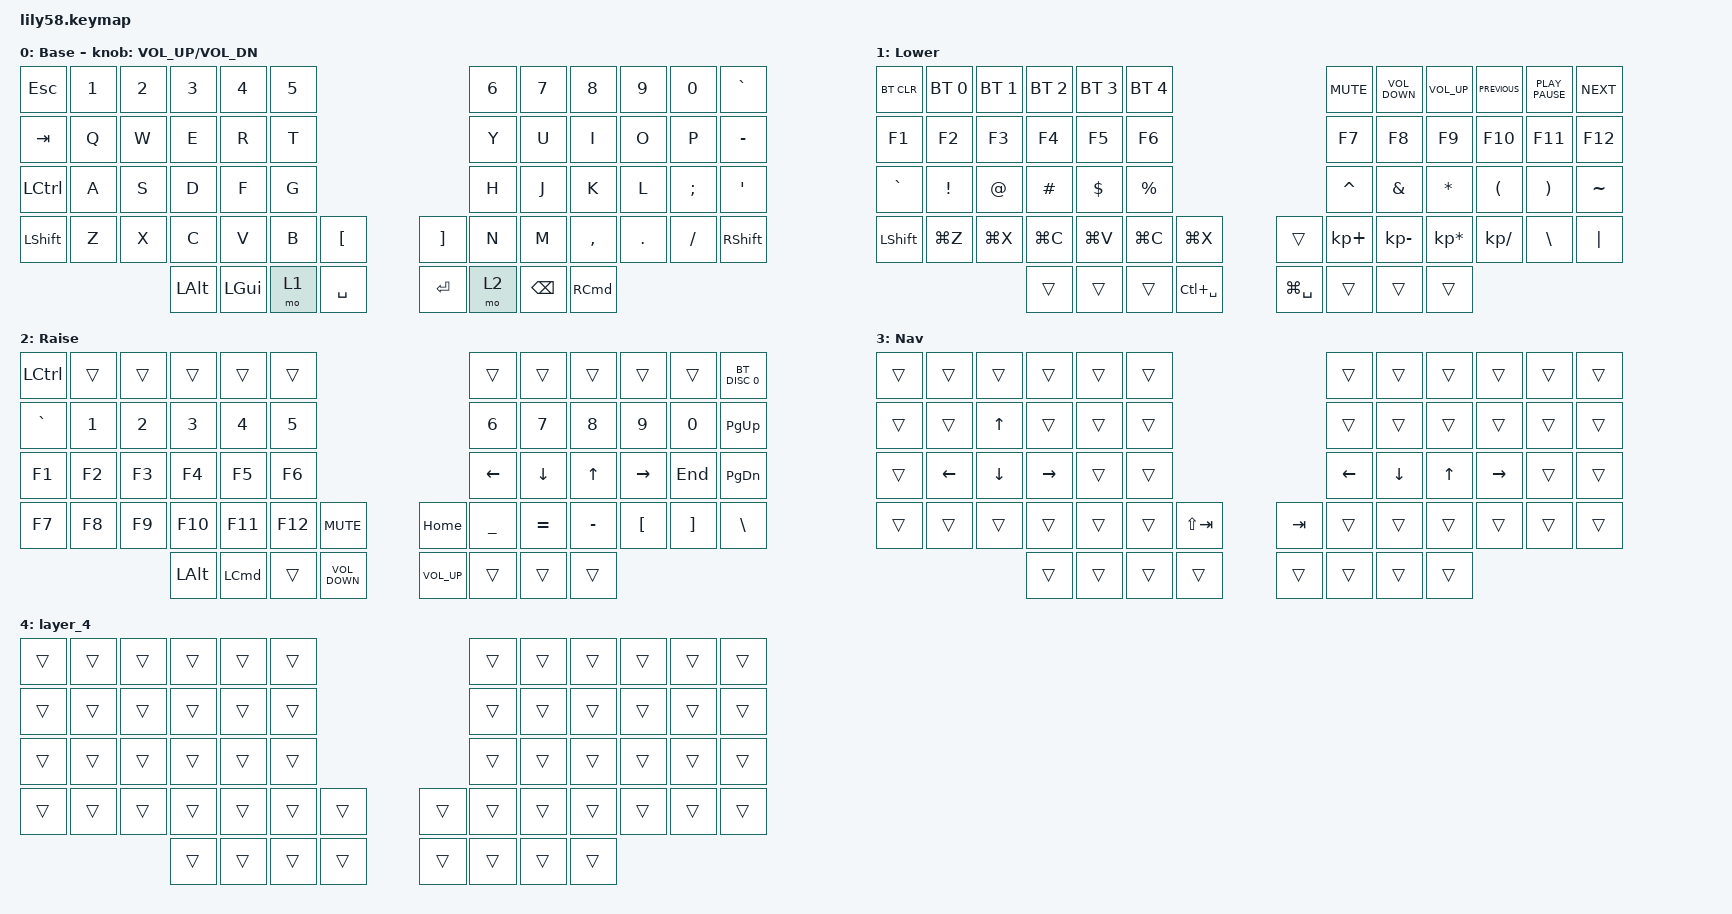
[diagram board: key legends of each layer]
/*
 * Copyright (c) 2020 The ZMK Contributors
 *
 * SPDX-License-Identifier: MIT
 */

#include <behaviors.dtsi>
#include <dt-bindings/zmk/bt.h>
#include <dt-bindings/zmk/keys.h>

/ {
    combos {
        compatible = "zmk,combos";

        layer_3 {
            bindings = <&mo 3>;
            key-positions = <55 56>;
        };
    };

    keymap {
        compatible = "zmk,keymap";

        default_layer {
            // ------------------------------------------------------------------------------------------------------------
            // |  ESC  |  1  |  2  |  3   |  4   |  5   |                   |  6   |  7    |  8    |  9   |   0   |   `   |
            // |  TAB  |  Q  |  W  |  E   |  R   |  T   |                   |  Y   |  U    |  I    |  O   |   P   |   -   |
            // |  CTRL |  A  |  S  |  D   |  F   |  G   |                   |  H   |  J    |  K    |  L   |   ;   |   '   |
            // | SHIFT |  Z  |  X  |  C   |  V   |  B   |   "["  |  |  "]"  |  N   |  M    |  ,    |  .   |   /   | SHIFT |
            //                     | ALT  | GUI  | LOWER|  SPACE |  | ENTER | RAISE| BSPC  | GUI   |

            label = "Base";
            bindings = <
&kp ESC    &kp N1  &kp N2  &kp N3    &kp N4    &kp N5                                         &kp N6  &kp N7         &kp N8     &kp N9   &kp N0    &kp GRAVE
&kp TAB    &kp Q   &kp W   &kp E     &kp R     &kp T                                          &kp Y   &kp U          &kp I      &kp O    &kp P     &kp MINUS
&kp LCTRL  &kp A   &kp S   &kp D     &kp F     &kp G                                          &kp H   &kp J          &kp K      &kp L    &kp SEMI  &kp SQT
&kp LSHFT  &kp Z   &kp X   &kp C     &kp V     &kp B   &kp LEFT_BRACKET    &kp RIGHT_BRACKET  &kp N   &kp M          &kp COMMA  &kp DOT  &kp FSLH  &kp RSHFT
                           &kp LALT  &kp LGUI  &mo 1   &kp SPACE           &kp RET            &mo 2   &kp BACKSPACE  &kp RCMD
            >;

            sensor-bindings = <&inc_dec_kp C_VOL_UP C_VOL_DN>;
        };

        lower_layer {
            // ------------------------------------------------------------------------------------------------------------
            // | BTCLR | BT1 | BT2 |  BT3 |  BT4 |  BT5 |                   |      |       |       |      |       |       |
            // |  F1   |  F2 |  F3 |  F4  |  F5  |  F6  |                   |  F7  |  F8   |  F9   |  F10 |  F11  |  F12  |
            // |   `   |  !  |  @  |  #   |  $   |  %   |                   |  ^   |  &    |  *    |  (   |   )   |   ~   |
            // |       |     |     |      |      |      |        |  |       |      |  _    |  +    |  {   |   }   |  "|"  |
            //                     |      |      |      |        |  |       |      |       |       |

            label = "Lower";
            bindings = <
&bt BT_CLR  &bt BT_SEL 0  &bt BT_SEL 1  &bt BT_SEL 2  &bt BT_SEL 3  &bt BT_SEL 4                                  &kp K_MUTE   &kp C_VOLUME_DOWN  &kp C_VOLUME_UP  &kp K_PREVIOUS        &kp K_PLAY_PAUSE  &kp K_NEXT
&kp F1      &kp F2        &kp F3        &kp F4        &kp F5        &kp F6                                        &kp F7       &kp F8             &kp F9           &kp F10               &kp F11           &kp F12
&kp GRAVE   &kp EXCL      &kp AT        &kp HASH      &kp DOLLAR    &kp PRCNT                                     &kp CARET    &kp AMPS           &kp ASTRK        &kp LEFT_PARENTHESIS  &kp RPAR          &kp TILDE
&kp LSHIFT  &kp LG(Z)     &kp LG(X)     &kp LG(C)     &kp LG(V)     &kp LG(C)     &kp LG(X)        &trans         &kp KP_PLUS  &kp KP_SUBTRACT    &kp KP_MULTIPLY  &kp KP_DIVIDE         &kp BACKSLASH     &kp PIPE
                                        &trans        &trans        &trans        &kp LC(SPACE)    &kp LG(SPACE)  &trans       &trans             &trans
            >;
        };

        raise_layer {
            // ------------------------------------------------------------------------------------------------------------
            // |       |     |     |      |      |      |                   |      |       |       |      |       |       |
            // |   `   |  1  |  2  |  3   |  4   |  5   |                   |  6   |   7   |   8   |  9   |   0   |       |
            // |   F1  |  F2 |  F3 |  F4  |  F5  |  F6  |                   |      |   <-  |   v   |  ^   |  ->   |       |
            // |   F7  |  F8 |  F9 |  F10 |  F11 |  F12 |        |  |       |  +   |   -   |   =   |  [   |   ]   |   \   |
            //                     |      |      |      |        |  |       |      |       |       |

            label = "Raise";
            bindings = <
&kp LCTRL  &trans  &trans  &trans        &trans    &trans                                         &trans     &trans     &trans     &trans     &trans    &bt BT_DISC 0
&kp GRAVE  &kp N1  &kp N2  &kp N3        &kp N4    &kp N5                                         &kp N6     &kp N7     &kp N8     &kp N9     &kp N0    &kp PG_UP
&kp F1     &kp F2  &kp F3  &kp F4        &kp F5    &kp F6                                         &kp LEFT   &kp DOWN   &kp UP     &kp RIGHT  &kp END   &kp PG_DN
&kp F7     &kp F8  &kp F9  &kp F10       &kp F11   &kp F12  &kp K_MUTE           &kp HOME         &kp UNDER  &kp EQUAL  &kp MINUS  &kp LBKT   &kp RBKT  &kp BSLH
                           &kp LEFT_ALT  &kp LCMD  &trans   &kp C_VOLUME_DOWN    &kp C_VOLUME_UP  &trans     &trans     &trans
            >;
        };

        navigation {
            bindings = <
&trans  &trans    &trans    &trans     &trans  &trans                          &trans    &trans    &trans  &trans     &trans  &trans
&trans  &trans    &kp UP    &trans     &trans  &trans                          &trans    &trans    &trans  &trans     &trans  &trans
&trans  &kp LEFT  &kp DOWN  &kp RIGHT  &trans  &trans                          &kp LEFT  &kp DOWN  &kp UP  &kp RIGHT  &trans  &trans
&trans  &trans    &trans    &trans     &trans  &trans  &kp LS(TAB)    &kp TAB  &trans    &trans    &trans  &trans     &trans  &trans
                            &trans     &trans  &trans  &trans         &trans   &trans    &trans    &trans
            >;

            label = "Nav";
        };

        layer_4 {
            bindings = <
&trans  &trans  &trans  &trans  &trans  &trans                    &trans  &trans  &trans  &trans  &trans  &trans
&trans  &trans  &trans  &trans  &trans  &trans                    &trans  &trans  &trans  &trans  &trans  &trans
&trans  &trans  &trans  &trans  &trans  &trans                    &trans  &trans  &trans  &trans  &trans  &trans
&trans  &trans  &trans  &trans  &trans  &trans  &trans    &trans  &trans  &trans  &trans  &trans  &trans  &trans
                        &trans  &trans  &trans  &trans    &trans  &trans  &trans  &trans
            >;
        };
    };
};
